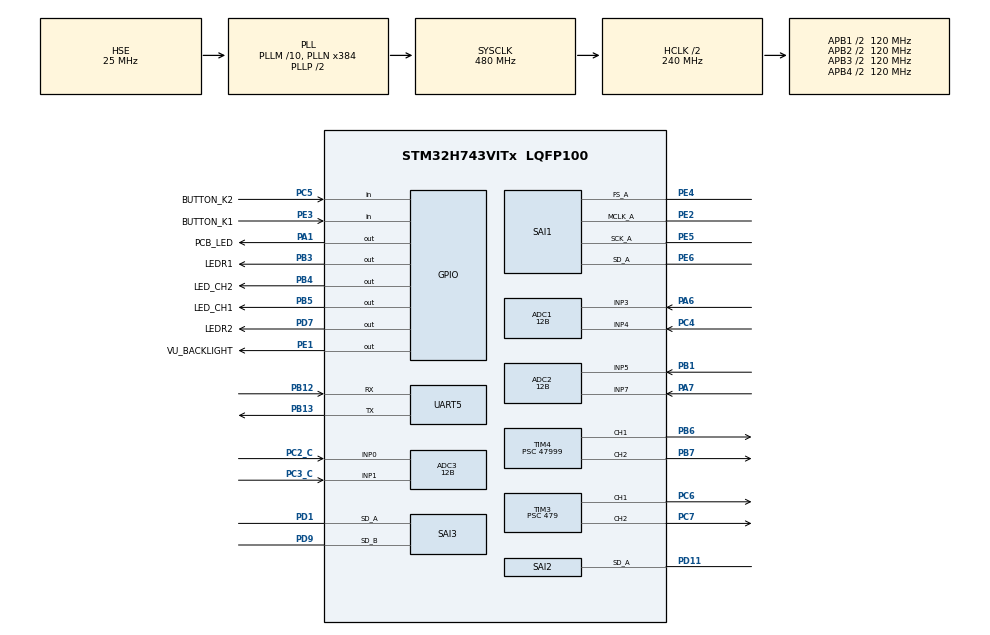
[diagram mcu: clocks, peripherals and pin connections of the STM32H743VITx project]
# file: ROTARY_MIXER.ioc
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ADC1.Channel-0\#ChannelRegularConversion=ADC_CHANNEL_3
ADC1.NbrOfConversionFlag=1
ADC1.OffsetNumber-0\#ChannelRegularConversion=ADC_OFFSET_NONE
ADC1.OffsetSignedSaturation-0\#ChannelRegularConversion=DISABLE
ADC1.Overrun=ADC_OVR_DATA_PRESERVED
ADC1.Rank-0\#ChannelRegularConversion=1
ADC1.Resolution=ADC_RESOLUTION_12B
ADC1.SamplingTime-0\#ChannelRegularConversion=ADC_SAMPLETIME_1CYCLE_5
ADC1.master=1
ADC2.Channel-0\#ChannelRegularConversion=ADC_CHANNEL_5
ADC2.ClockPrescaler=ADC_CLOCK_ASYNC_DIV1
ADC2.NbrOfConversionFlag=1
ADC2.OffsetNumber-0\#ChannelRegularConversion=ADC_OFFSET_NONE
ADC2.OffsetSignedSaturation-0\#ChannelRegularConversion=DISABLE
ADC2.Rank-0\#ChannelRegularConversion=1
ADC2.Resolution=ADC_RESOLUTION_12B
ADC2.SamplingTime-0\#ChannelRegularConversion=ADC_SAMPLETIME_1CYCLE_5
ADC3.Channel-1\#ChannelRegularConversion=ADC_CHANNEL_0
ADC3.ClockPrescaler=ADC_CLOCK_ASYNC_DIV1
ADC3.NbrOfConversionFlag=1
ADC3.OffsetNumber-1\#ChannelRegularConversion=ADC_OFFSET_NONE
ADC3.OffsetSignedSaturation-1\#ChannelRegularConversion=DISABLE
ADC3.Rank-1\#ChannelRegularConversion=1
ADC3.Resolution=ADC_RESOLUTION_12B
ADC3.SamplingTime-1\#ChannelRegularConversion=ADC_SAMPLETIME_1CYCLE_5
CORTEX_M7.CPU_DCache=Enabled
CORTEX_M7.CPU_ICache=Enabled
CORTEX_M7.Enable_S-Cortex_Memory_Protection_Unit_Region13_Settings_S=__NULL
CORTEX_M7.MPU_Control=__NULL
Mcu.Family=STM32H7
Mcu.Name=STM32H743VITx
Mcu.Package=LQFP100
NVIC.PriorityGroup=NVIC_PRIORITYGROUP_4
NVIC.SAI1_IRQn=true\:1\:0\:true\:false\:true\:true\:true\:true
NVIC.SAI3_IRQn=true\:3\:0\:true\:false\:true\:true\:true\:true
NVIC.TIM2_IRQn=true\:4\:0\:true\:false\:true\:true\:true\:true
NVIC.UART5_IRQn=true\:5\:0\:true\:false\:true\:true\:true\:true
PA1.GPIO_Label=PCB_LED
PA1.GPIO_Speed=GPIO_SPEED_FREQ_VERY_HIGH
PA1.Signal=GPIO_Output
PA6.Signal=ADCx_INP3
PA7.Signal=ADCx_INP7
PB1.Signal=ADCx_INP5
PB12.Mode=Asynchronous
PB12.Signal=UART5_RX
PB13.Mode=Asynchronous
PB13.Signal=UART5_TX
PB3\ (JTDO/TRACESWO).GPIO_Label=LEDR1
PB3\ (JTDO/TRACESWO).GPIO_Speed=GPIO_SPEED_FREQ_MEDIUM
PB3\ (JTDO/TRACESWO).Signal=GPIO_Output
PB4\ (NJTRST).GPIO_Label=LED_CH2
PB4\ (NJTRST).GPIO_Speed=GPIO_SPEED_FREQ_MEDIUM
PB4\ (NJTRST).Signal=GPIO_Output
PB5.GPIO_Label=LED_CH1
PB5.GPIO_Speed=GPIO_SPEED_FREQ_MEDIUM
PB5.Signal=GPIO_Output
PB6.Signal=S_TIM4_CH1
PB7.Signal=S_TIM4_CH2
PC2_C.Mode=IN0-Single-Ended
PC2_C.Signal=ADC3_INP0
PC3_C.Mode=IN1-Single-Ended
PC3_C.Signal=ADC3_INP1
PC4.Signal=ADCx_INP4
PC5.GPIO_Label=BUTTON_K2
PC5.GPIO_PuPd=GPIO_PULLUP
PC5.Signal=GPIO_Input
PC6.Signal=S_TIM3_CH1
PC7.Signal=S_TIM3_CH2
PD1.Mode=SAI_A_SyncSlave
PD1.Signal=SAI3_SD_A
PD11.Mode=SAI_A_SyncSlave
PD11.Signal=SAI2_SD_A
PD7.GPIO_Label=LEDR2
PD7.GPIO_Speed=GPIO_SPEED_FREQ_MEDIUM
PD7.Signal=GPIO_Output
PD9.Mode=SAI_B_SyncSlave
PD9.Signal=SAI3_SD_B
PE1.GPIO_Label=VU_BACKLIGHT
PE1.GPIO_Speed=GPIO_SPEED_FREQ_MEDIUM
PE1.Signal=GPIO_Output
PE2.Mode=SAI_A_MasterWithClock
PE2.Signal=SAI1_MCLK_A
PE3.GPIO_Label=BUTTON_K1
PE3.GPIO_PuPd=GPIO_PULLUP
PE3.Signal=GPIO_Input
PE4.Mode=SAI_A_MasterWithClock
PE4.Signal=SAI1_FS_A
PE5.Mode=SAI_A_MasterWithClock
PE5.Signal=SAI1_SCK_A
PE6.Mode=SAI_A_MasterWithClock
PE6.Signal=SAI1_SD_A
PH0-OSC_IN\ (PH0).Mode=HSE-External-Oscillator
PH0-OSC_IN\ (PH0).Signal=RCC_OSC_IN
PH1-OSC_OUT\ (PH1).Mode=HSE-External-Oscillator
PH1-OSC_OUT\ (PH1).Signal=RCC_OSC_OUT
ProjectManager.HeapSize=0x200
ProjectManager.StackSize=0x400
ProjectManager.TargetToolchain=MDK-ARM V5.32
RCC.ADCFreq_Value=60000000
RCC.APB1Freq_Value=120000000
RCC.APB2Freq_Value=120000000
RCC.APB3Freq_Value=120000000
RCC.APB4Freq_Value=120000000
RCC.CortexFreq_Value=480000000
RCC.D1PPRE=RCC_APB3_DIV2
RCC.D2PPRE1=RCC_APB1_DIV2
RCC.D2PPRE2=RCC_APB2_DIV2
RCC.D3PPRE=RCC_APB4_DIV2
RCC.DIVM1=10
RCC.DIVM2=10
RCC.DIVM3=25
RCC.DIVN1=384
RCC.DIVN2=144
RCC.DIVN3=295
RCC.DIVP2=6
RCC.HCLKFreq_Value=240000000
RCC.HPRE=RCC_HCLK_DIV2
RCC.LockedElements=D1CPREOutput
RCC.PLL2FRACN=0
RCC.PLL3FRACN=0
RCC.PLLFRACN=0
RCC.PLLSourceVirtual=RCC_PLLSOURCE_HSE
RCC.SAI1CLockSelection=RCC_SAI1CLKSOURCE_PLL3
RCC.SAI23CLockSelection=RCC_SAI23CLKSOURCE_PLL3
RCC.SYSCLKFreq_VALUE=480000000
RCC.SYSCLKSource=RCC_SYSCLKSOURCE_PLLCLK
RCC.Tim2Mul=2
RCC.USBFreq_Value=480000000
SAI1.ActiveFrameLength-SAI_A_MasterWithClock=32
SAI1.AudioFrequency-SAI_A_MasterWithClock=SAI_AUDIO_FREQUENCY_48K
SAI1.ClockStrobing-SAI_A_MasterWithClock=SAI_CLOCKSTROBING_RISINGEDGE
SAI1.DataSize-SAI_A_MasterWithClock=SAI_DATASIZE_16
SAI1.ErrorAudioFreq-SAI_A_MasterWithClock=0.02 %
SAI1.FSDefinition-SAI_A_MasterWithClock=SAI_FS_STARTFRAME
SAI1.FrameLength-SAI_A_MasterWithClock=64
SAI1.Instance-SAI_A_MasterWithClock=SAI$Index_Block_A
SAI1.MClockEnable=SAI_MASTERCLOCK_ENABLE
SAI1.OutputDrive-SAI_A_MasterWithClock=SAI_OUTPUTDRIVE_ENABLE
SAI1.RealAudioFreq-SAI_A_MasterWithClock=48.014 KHz
SAI1.SlotActive-SAI_A_MasterWithClock=0x00000003
SAI1.SlotNumber-SAI_A_MasterWithClock=2
SAI1.SynchroExt=SAI_SYNCEXT_OUTBLOCKA_ENABLE
SAI1.VirtualMode-SAI_A_MasterWithClock=VM_MASTER
SAI1.VirtualSlotActive-SAI_A_MasterWithClock=SAI_SLOT_USERSETTING
SAI1.VirtualSlotActive0-SAI_A_MasterWithClock=true
SAI1.VirtualSlotActive1-SAI_A_MasterWithClock=true
SAI2.ClockStrobing-SAI_A_SyncSlave=SAI_CLOCKSTROBING_RISINGEDGE
SAI2.DataSize-SAI_A_SyncSlave=SAI_DATASIZE_16
SAI2.FrameLength-SAI_A_SyncSlave=32
SAI2.Instance-SAI_A_SyncSlave=SAI$Index_Block_A
SAI2.OutputDrive-SAI_A_SyncSlave=SAI_OUTPUTDRIVE_ENABLE
SAI2.SlotActive-SAI_A_SyncSlave=0x00000003
SAI2.SlotNumber-SAI_A_SyncSlave=2
SAI2.VirtualMode-SAI_A_SyncSlave=VM_SLAVE
SAI2.VirtualSlotActive-SAI_A_SyncSlave=SAI_SLOT_USERSETTING
SAI2.VirtualSlotActive0-SAI_A_SyncSlave=true
SAI2.VirtualSlotActive1-SAI_A_SyncSlave=true
SAI3.ActiveFrameLength-SAI_A_SyncSlave=32
SAI3.ActiveFrameLength-SAI_B_SyncSlave=32
SAI3.ClockStrobing-SAI_A_SyncSlave=SAI_CLOCKSTROBING_RISINGEDGE
SAI3.ClockStrobing-SAI_B_SyncSlave=SAI_CLOCKSTROBING_RISINGEDGE
SAI3.DataSize-SAI_A_SyncSlave=SAI_DATASIZE_16
SAI3.DataSize-SAI_B_SyncSlave=SAI_DATASIZE_16
SAI3.FrameLength-SAI_A_SyncSlave=64
SAI3.FrameLength-SAI_B_SyncSlave=64
SAI3.Instance-SAI_A_SyncSlave=SAI$Index_Block_A
SAI3.Instance-SAI_B_SyncSlave=SAI$Index_Block_B
SAI3.OutputDrive-SAI_A_SyncSlave=SAI_OUTPUTDRIVE_ENABLE
SAI3.OutputDrive-SAI_B_SyncSlave=SAI_OUTPUTDRIVE_ENABLE
SAI3.SlotActive-SAI_A_SyncSlave=0x00000003
SAI3.SlotActive-SAI_B_SyncSlave=0x00000003
SAI3.SlotNumber-SAI_A_SyncSlave=2
SAI3.SlotNumber-SAI_B_SyncSlave=2
SAI3.Synchro_A=SAI_SYNCHRONOUS_EXT_SAI1
SAI3.VirtualMode-SAI_A_SyncSlave=VM_SLAVE
SAI3.VirtualMode-SAI_B_SyncSlave=VM_SLAVE
SAI3.VirtualSlotActive-SAI_A_SyncSlave=SAI_SLOT_USERSETTING
SAI3.VirtualSlotActive-SAI_B_SyncSlave=SAI_SLOT_USERSETTING
SAI3.VirtualSlotActive0-SAI_A_SyncSlave=true
SAI3.VirtualSlotActive0-SAI_B_SyncSlave=true
SAI3.VirtualSlotActive1-SAI_A_SyncSlave=true
SAI3.VirtualSlotActive1-SAI_B_SyncSlave=true
SH.ADCx_INP3.0=ADC1_INP3,IN3-Single-Ended
SH.ADCx_INP4.0=ADC1_INP4,IN4-Single-Ended
SH.ADCx_INP5.0=ADC2_INP5,IN5-Single-Ended
SH.ADCx_INP7.0=ADC2_INP7,IN7-Single-Ended
SH.S_TIM3_CH1.0=TIM3_CH1,PWM Generation1 CH1
SH.S_TIM3_CH2.0=TIM3_CH2,PWM Generation2 CH2
SH.S_TIM4_CH1.0=TIM4_CH1,PWM Generation1 CH1
SH.S_TIM4_CH2.0=TIM4_CH2,PWM Generation2 CH2
TIM2.ClockDivision=TIM_CLOCKDIVISION_DIV2
TIM2.Period=415
TIM2.Prescaler=239
TIM3.Channel-PWM\ Generation1\ CH1=TIM_CHANNEL_1
TIM3.Channel-PWM\ Generation2\ CH2=TIM_CHANNEL_2
TIM3.ClockDivision=TIM_CLOCKDIVISION_DIV4
TIM3.Period=299
TIM3.Prescaler=479
TIM3.Pulse-PWM\ Generation1\ CH1=0
TIM3.Pulse-PWM\ Generation2\ CH2=0
TIM4.Channel-PWM\ Generation1\ CH1=TIM_CHANNEL_1
TIM4.Channel-PWM\ Generation2\ CH2=TIM_CHANNEL_2
TIM4.ClockDivision=TIM_CLOCKDIVISION_DIV4
TIM4.Period=9999
TIM4.Prescaler=47999
TIM4.Pulse-PWM\ Generation1\ CH1=5000
TIM4.Pulse-PWM\ Generation2\ CH2=5000
VP_SAI1_VP_$IpInstance_SYNCHRO_EXTERNAL.Mode=SynchroExternal
VP_TIM2_VS_ClockSourceINT.Mode=Internal
VP_TIM3_VS_ClockSourceINT.Mode=Internal
VP_TIM4_VS_ClockSourceINT.Mode=Internal
board=custom

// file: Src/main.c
/* USER CODE BEGIN Header */
/**
  ******************************************************************************
  * @file           : main.c
  * @brief          : Main program body
  ******************************************************************************
  * @attention
  *
  * Copyright (c) 2024 STMicroelectronics.
  * All rights reserved.
  *
  * This software is licensed under terms that can be found in the LICENSE file
  * in the root directory of this software component.
  * If no LICENSE file comes with this software, it is provided AS-IS.
  *
  ******************************************************************************
  */
/* USER CODE END Header */
#include "main.h"
#include "adc.h"
#include "sai.h"
#include "tim.h"
#include "usart.h"
#include "gpio.h"

/* USER CODE BEGIN Includes */
#include <math.h>
#include "arm_math.h"

////////////////////////////////////////////////////////////////////////////////////////
//
//		Product: Rotary mixer DBA5
//
//
//		Generated with: STM32CubeMX 6.10.0
//		Firmware Package Name and Version STM32Cube FW_H7 V1.11.1
//
//
//		add file arm_math.h
//
//
//
//
//
//
////////////////////////////////////////////////////////////////////////////////////////
//
//
//
//	ver. 0.01
//	- empty project
//	ver. 0.04
//	- added potenciometer adcs handler
//	ver. 0.05
//	- modify pwms
//	ver. 0.07
//	-	improved adcs and dacs inits
//	-	changed irq priority
//	-	changed tim2: htim2.Init.Prescaler = 1919;
//	ver. 0.15
//	-	improved dacs inits and 48K
//	- added inertion for leveler
//	-	improved audio handler
//	ver. 0.17
//	-	improved filters
//
//
//
//////////////////////////////////////////////////////////////////////////////////////////////////////////////

/* USER CODE END Includes */

/* USER CODE BEGIN PV */

#include "global_variables.h"

#include "audio.h"
#include "audio_handler.h"

/* USER CODE END PV */

void SystemClock_Config(void);
void PeriphCommonClock_Config(void);
/* USER CODE BEGIN PFP */
void ADC1_SELECT_CH(uint32_t ch);
void ADC2_SELECT_CH(uint32_t ch);
void ADC3_SELECT_CH(uint32_t ch);
void CALC_CUTF_0(void);
void CALC_CUTF_1(void);

/* USER CODE END PFP */

int main(void)
{
/* Enable the CPU Cache */

  /* Enable I-Cache---------------------------------------------------------*/
  SCB_EnableICache();

  /* Enable D-Cache---------------------------------------------------------*/
  SCB_EnableDCache();

  /* MCU Configuration--------------------------------------------------------*/

  /* Reset of all peripherals, Initializes the Flash interface and the Systick. */
  HAL_Init();

  /* Configure the system clock */
  SystemClock_Config();

/* Configure the peripherals common clocks */
  PeriphCommonClock_Config();

  /* Initialize all configured peripherals */
  MX_GPIO_Init();
  MX_UART5_Init();
  MX_ADC1_Init();
  MX_ADC2_Init();
  MX_ADC3_Init();
  MX_SAI1_Init();
  MX_SAI2_Init();
  MX_SAI3_Init();
  MX_TIM2_Init();
  MX_TIM3_Init();
  MX_TIM4_Init();
  /* USER CODE BEGIN 2 */
	HAL_Delay(900);
	HAL_GPIO_WritePin(VU_BACKLIGHT_GPIO_Port, VU_BACKLIGHT_Pin, GPIO_PIN_SET);
	HAL_TIM_PWM_Start(&htim3, TIM_CHANNEL_1);				//start VU meter pwm
	HAL_TIM_PWM_Start(&htim3, TIM_CHANNEL_2);				//start VU meter pwm
	HAL_TIM_PWM_Start(&htim4, TIM_CHANNEL_1);				//start LED pwm
	HAL_TIM_PWM_Start(&htim4, TIM_CHANNEL_2);				//start LED pwm
	HAL_Delay(500);
	for(i=0;i<255;i++)
		{
		TIM3->CCR2 = i;
		TIM3->CCR1 = i;
		HAL_Delay(5);
		}
	for(i=255;i>0;i--)
		{
		TIM3->CCR2 = i;
		TIM3->CCR1 = i;
		HAL_Delay(5);
		}
	HAL_TIM_Base_Start_IT(&htim2);									//start timer
	HAL_SAI_Transmit_IT(&hsai_BlockA1, MASTER_BUS, 2);
	HAL_SAI_Transmit_IT(&hsai_BlockA2, HP_BUS, 2);
	HAL_SAI_Receive_IT(&hsai_BlockA3, CH2IN, 2);
	HAL_SAI_Receive_IT(&hsai_BlockB3, CH1IN, 2);

  /* USER CODE END 2 */

  /* Infinite loop */
  /* USER CODE BEGIN WHILE */
  while (1)
  {

	//for debug
	if(prewcrc!=currcrc)
		{
		HAL_Delay(2);
//		sprintf((char*)U_TX_DATA, "%03lu.%03lu.%03lu.%03lu.%03lu.%03lu\n\r", VR_LEVEL[0], VR_LEVEL[1], VR_LEVEL[2], VR_LEVEL[3], VR_LEVEL[4], VR_LEVEL[5]);
//		HAL_UART_Transmit(&huart5, U_TX_DATA, 25, 15);
		prewcrc = currcrc;
		}

	if(previous_VR_LEVEL[VCF0]!=VR_LEVEL[VCF0])		///FILTER CH1
		{
		CALC_CUTF_0();
		previous_VR_LEVEL[VCF0] = VR_LEVEL[VCF0];
		if(VR_LEVEL[VCF0]<128)			//LPF
			{
			TIM4->ARR = 3400;
			TIM4->CCR2 = 2200;
			TIM4->PSC = 5000+421*VR_LEVEL[VCF0];
			}
		else if(VR_LEVEL[VCF0]==128)			//bandpass
			{
			TIM4->CNT = 0;
			TIM4->ARR = 999;
			TIM4->CCR2 = 0;
			TIM4->PSC = 47;
			}
		else				//hpf
			{
			TIM4->ARR = 3400;
			TIM4->CCR2 = 2200;
			TIM4->PSC = 5000+421*(255-VR_LEVEL[VCF0]);
			}
		}

	if(previous_VR_LEVEL[CUES]!=VR_LEVEL[CUES])		///CUES selector
		{
		previous_VR_LEVEL[CUES] = VR_LEVEL[CUES];
		if(VR_LEVEL[CUES]<55)				//CH1
			{
			CUE_NUM	= 0;
			}
		else if(VR_LEVEL[CUES]<92)	//CH1+M
			{
			CUE_NUM	= 1;
			}
		else if(VR_LEVEL[CUES]<130)	//MASTER
			{
			CUE_NUM	= 2;
			}
		else if(VR_LEVEL[CUES]<175)	//CH2+M
			{
			CUE_NUM	= 3;
			}
		else							//CH2
			{
			CUE_NUM	= 4;
			}
		}

	if(previous_VR_LEVEL[VCF1]!=VR_LEVEL[VCF1])		///FILTER CH2
		{
		CALC_CUTF_1();
		previous_VR_LEVEL[VCF1] = VR_LEVEL[VCF1];
		}

	if(previous_VR_LEVEL[QFAC]!=VR_LEVEL[QFAC])		/// QFAC
		{
		CALC_CUTF_0();
		CALC_CUTF_1();
		previous_VR_LEVEL[QFAC] = VR_LEVEL[QFAC];
		}

    /* USER CODE END WHILE */

  }
}

void SystemClock_Config(void)
{
  RCC_OscInitTypeDef RCC_OscInitStruct = {0};
  RCC_ClkInitTypeDef RCC_ClkInitStruct = {0};

  /** Supply configuration update enable
  */
  HAL_PWREx_ConfigSupply(PWR_LDO_SUPPLY);

  /** Configure the main internal regulator output voltage
  */
  __HAL_PWR_VOLTAGESCALING_CONFIG(PWR_REGULATOR_VOLTAGE_SCALE1);

  while(!__HAL_PWR_GET_FLAG(PWR_FLAG_VOSRDY)) {}

  __HAL_RCC_SYSCFG_CLK_ENABLE();
  __HAL_PWR_VOLTAGESCALING_CONFIG(PWR_REGULATOR_VOLTAGE_SCALE0);

  while(!__HAL_PWR_GET_FLAG(PWR_FLAG_VOSRDY)) {}

  /** Initializes the RCC Oscillators according to the specified parameters
  * in the RCC_OscInitTypeDef structure.
  */
  RCC_OscInitStruct.OscillatorType = RCC_OSCILLATORTYPE_HSE;
  RCC_OscInitStruct.HSEState = RCC_HSE_ON;
  RCC_OscInitStruct.PLL.PLLState = RCC_PLL_ON;
  RCC_OscInitStruct.PLL.PLLSource = RCC_PLLSOURCE_HSE;
  RCC_OscInitStruct.PLL.PLLM = 10;
  RCC_OscInitStruct.PLL.PLLN = 384;
  RCC_OscInitStruct.PLL.PLLP = 2;
  RCC_OscInitStruct.PLL.PLLQ = 2;
  RCC_OscInitStruct.PLL.PLLR = 2;
  RCC_OscInitStruct.PLL.PLLRGE = RCC_PLL1VCIRANGE_1;
  RCC_OscInitStruct.PLL.PLLVCOSEL = RCC_PLL1VCOWIDE;
  RCC_OscInitStruct.PLL.PLLFRACN = 0;
  if (HAL_RCC_OscConfig(&RCC_OscInitStruct) != HAL_OK)
  {
    Error_Handler();
  }

  /** Initializes the CPU, AHB and APB buses clocks
  */
  RCC_ClkInitStruct.ClockType = RCC_CLOCKTYPE_HCLK|RCC_CLOCKTYPE_SYSCLK
                              |RCC_CLOCKTYPE_PCLK1|RCC_CLOCKTYPE_PCLK2
                              |RCC_CLOCKTYPE_D3PCLK1|RCC_CLOCKTYPE_D1PCLK1;
  RCC_ClkInitStruct.SYSCLKSource = RCC_SYSCLKSOURCE_PLLCLK;
  RCC_ClkInitStruct.SYSCLKDivider = RCC_SYSCLK_DIV1;
  RCC_ClkInitStruct.AHBCLKDivider = RCC_HCLK_DIV2;
  RCC_ClkInitStruct.APB3CLKDivider = RCC_APB3_DIV2;
  RCC_ClkInitStruct.APB1CLKDivider = RCC_APB1_DIV2;
  RCC_ClkInitStruct.APB2CLKDivider = RCC_APB2_DIV2;
  RCC_ClkInitStruct.APB4CLKDivider = RCC_APB4_DIV2;

  if (HAL_RCC_ClockConfig(&RCC_ClkInitStruct, FLASH_LATENCY_4) != HAL_OK)
  {
    Error_Handler();
  }
}

void PeriphCommonClock_Config(void)
{
  RCC_PeriphCLKInitTypeDef PeriphClkInitStruct = {0};

  /** Initializes the peripherals clock
  */
  PeriphClkInitStruct.PeriphClockSelection = RCC_PERIPHCLK_ADC|RCC_PERIPHCLK_SAI1
                              |RCC_PERIPHCLK_SAI2|RCC_PERIPHCLK_SAI3;
  PeriphClkInitStruct.PLL2.PLL2M = 10;
  PeriphClkInitStruct.PLL2.PLL2N = 144;
  PeriphClkInitStruct.PLL2.PLL2P = 6;
  PeriphClkInitStruct.PLL2.PLL2Q = 2;
  PeriphClkInitStruct.PLL2.PLL2R = 2;
  PeriphClkInitStruct.PLL2.PLL2RGE = RCC_PLL2VCIRANGE_1;
  PeriphClkInitStruct.PLL2.PLL2VCOSEL = RCC_PLL2VCOWIDE;
  PeriphClkInitStruct.PLL2.PLL2FRACN = 0;
  PeriphClkInitStruct.PLL3.PLL3M = 25;
  PeriphClkInitStruct.PLL3.PLL3N = 295;
  PeriphClkInitStruct.PLL3.PLL3P = 2;
  PeriphClkInitStruct.PLL3.PLL3Q = 2;
  PeriphClkInitStruct.PLL3.PLL3R = 2;
  PeriphClkInitStruct.PLL3.PLL3RGE = RCC_PLL3VCIRANGE_0;
  PeriphClkInitStruct.PLL3.PLL3VCOSEL = RCC_PLL3VCOWIDE;
  PeriphClkInitStruct.PLL3.PLL3FRACN = 0;
  PeriphClkInitStruct.Sai1ClockSelection = RCC_SAI1CLKSOURCE_PLL3;
  PeriphClkInitStruct.Sai23ClockSelection = RCC_SAI23CLKSOURCE_PLL3;
  PeriphClkInitStruct.AdcClockSelection = RCC_ADCCLKSOURCE_PLL2;
  if (HAL_RCCEx_PeriphCLKConfig(&PeriphClkInitStruct) != HAL_OK)
  {
    Error_Handler();
  }
}

/* USER CODE BEGIN 4 */

#include "timer_handler.h"

///////////////////////////////////////////////
//
//	CALC_CUTF_0
//
void CALC_CUTF_0(void)
	{
	if((VR_LEVEL[VCF0])<128)
		{
		fcutoff_0 = VR_VCFx116[VR_LEVEL[VCF0]];
		resonanse_0 = VR_QFAC[VR_LEVEL[QFAC]]*VR_VCF1minusKV[VR_LEVEL[VCF0]];
		//resonanse_0 = VR_QFAC[VR_LEVEL[QFAC]]*(1.0 - 0.15*fcutoff_0*fcutoff_0);
		}
		//////////////////////////////////////////////
		//4.0*VR_POS[VR_LEVEL[QFAC]   = need 2.99 maximum
	//resonanse_0 = 1.700f - 0.255 * fcutoff_0 * fcutoff_0;
	};

///////////////////////////////////////////////
//
//	CALC_CUTF_1
//
void CALC_CUTF_1(void)
	{
	if((VR_LEVEL[VCF1])<128)
		{
		fcutoff_1 = VR_VCFx116[VR_LEVEL[VCF1]];
		resonanse_1 = VR_QFAC[VR_LEVEL[QFAC]]*VR_VCF1minusKV[VR_LEVEL[VCF1]];
		//resonanse_1 = VR_QFAC[VR_LEVEL[QFAC]]*(1.0 - 0.15*fcutoff_1*fcutoff_1);
		}
	//resonanse_1 = 1.700f - 0.255 * fcutoff_1 * fcutoff_1;
	};

//////////////////////////////////////////////////////////////////////////////
//
//		select channel for ADC1
//
void ADC1_SELECT_CH(uint32_t ch)
	{
	ADC_ChannelConfTypeDef sConfig;
	sConfig.Channel = ch;
  sConfig.Rank = ADC_REGULAR_RANK_1;
  sConfig.SamplingTime = ADC_SAMPLETIME_1CYCLE_5;
  sConfig.SingleDiff = ADC_SINGLE_ENDED;
  sConfig.OffsetNumber = ADC_OFFSET_NONE;
  sConfig.Offset = 0;
  sConfig.OffsetSignedSaturation = DISABLE;
	HAL_ADC_ConfigChannel(&hadc1, &sConfig);
	}

//////////////////////////////////////////////////////////////////////////////
//
//		select channel for ADC2
//
void ADC2_SELECT_CH(uint32_t ch)
	{
	ADC_ChannelConfTypeDef sConfig;
	sConfig.Channel = ch;
  sConfig.Rank = ADC_REGULAR_RANK_1;
  sConfig.SamplingTime = ADC_SAMPLETIME_1CYCLE_5;
  sConfig.SingleDiff = ADC_SINGLE_ENDED;
  sConfig.OffsetNumber = ADC_OFFSET_NONE;
  sConfig.Offset = 0;
  sConfig.OffsetSignedSaturation = DISABLE;
	HAL_ADC_ConfigChannel(&hadc2, &sConfig);
	}

//////////////////////////////////////////////////////////////////////////////
//
//		select channel for ADC3
//
void ADC3_SELECT_CH(uint32_t ch)
	{
	ADC_ChannelConfTypeDef sConfig;
	sConfig.Channel = ch;
  sConfig.Rank = ADC_REGULAR_RANK_1;
  sConfig.SamplingTime = ADC_SAMPLETIME_1CYCLE_5;
  sConfig.SingleDiff = ADC_SINGLE_ENDED;
  sConfig.OffsetNumber = ADC_OFFSET_NONE;
  sConfig.Offset = 0;
  sConfig.OffsetSignedSaturation = DISABLE;
	HAL_ADC_ConfigChannel(&hadc3, &sConfig);
	}

/* USER CODE END 4 */

void Error_Handler(void)
{
  __disable_irq();
  while (1)
  {
  }
}
